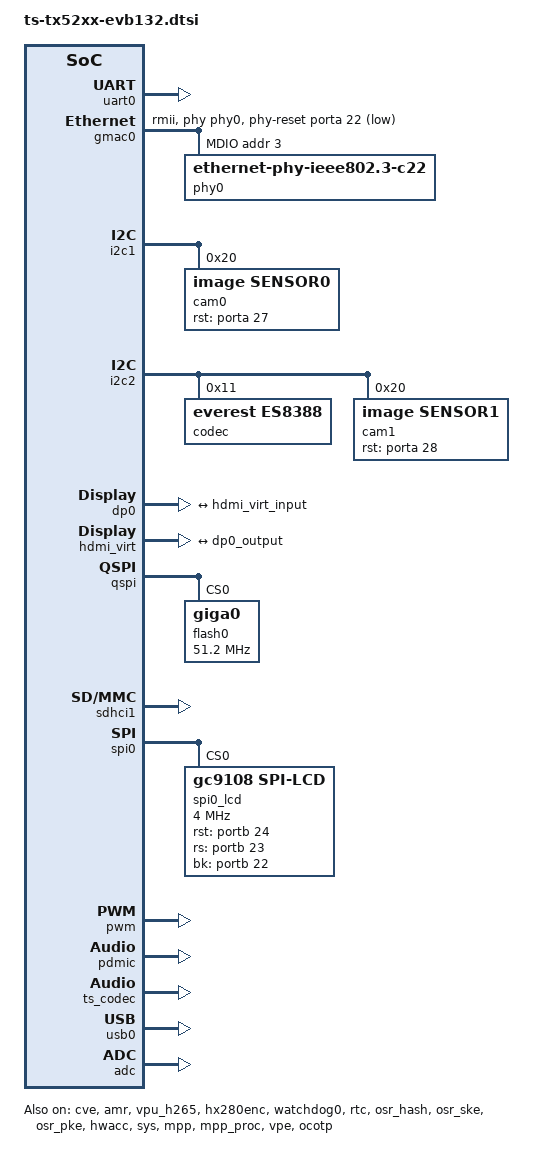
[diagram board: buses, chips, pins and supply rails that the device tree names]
// SPDX-License-Identifier: GPL-2.0+
/*
 * dts file for tsingmicro tx52xx
 *
 * Copyright 2022 Beijing Tsingmicro Intelligent Technology Co.,Ltd.
 *
 * This program is free software; you can redistribute it and/or
 * modify it under the terms of the GNU General Public License as
 * published by the Free Software Foundation; either version 2 of
 * the License, or (at your option) any later version.
 */

#include "ts-tx5215.dtsi"
#include "ts-tx5215-clk.dtsi"
#include "ts-tx5215-reset.dtsi"
#include "ts-tx52xx-evb132-pinctrl.dtsi"

/ {
	chosen {
		/*bootargs = "console=ttyS0,115200n8 initrd=0xc4000000,4M init=/linuxrc
		 * root=/dev/ram0 rw rootfstype=ext4 rootwait ignore_loglevel earlycon";
		 */
		bootargs = "console=ttyS0,115200n8 earlycon";
		/*bootargs = "console=ttyS0,115200n8 ignore_loglevel";
		 *bootargs = "root=/dev/ram0 rw ramdisk=8192 initrd=0x41000000,8M
		 *console=ttyS0,115200n8 init=/linuxrc";
		 */
		stdout-path = "serial0:115200";
	};

	sound {
		status = "disabled";
		compatible = "ts-es8388,tx5215";
		model = "ts-audio-es8388";
		i2s-controller = <&i2s>;
		audio-codec = <&codec>;
	};

};

&uart0 {
	status = "okay";
};

&uart1 {
	pinctrl-names = "default";
	// pinctrl-0 = <&uart1_pinctrl>;
	status = "disabled";
};

&uart2 {
	pinctrl-names = "default";
	// pinctrl-0 = <&uart2_pinctrl_0>;
	status = "disabled";
};

&gpio0 {
	pinctrl-names = "default";
	// pinctrl-0 = <&gpioa25_pinctrl>;
	status = "okay";
};

&gpio1 {
	pinctrl-names = "default";
	// pinctrl-0 = <&gpiob11_pinctrl>;
	status = "okay";
};

&usart0 {
	status = "disabled";
};

&usart1 {
	status = "disabled";
	pinctrl-names = "default";
	// pinctrl-0 = <&usi1_pinctrl_1>;
};

&rne_dma {
	status = "okay";
};

/*
 *&smmu {
 *	status = "disable";
 *};
 */

&uspi0 {
	status = "disabled";
	#address-cells = <0x1>;
	#size-cells = <0x0>;
	pinctrl-names = "default";
	pinctrl-0 = <&usi0_pinctrl &gpioa9_pinctrl>;
	uspics-gpios = <&porta 9 GPIO_ACTIVE_HIGH>;
	uspi0_flash0:w25q64@00 {
		status = "okay";
		compatible = "winbond,w25q64","jedec,spi-nor";
		reg = <0>;
		spi-max-frequency = <1000000>;
		#address-cells = <1>;
		#size-cells = <1>;
		partition@usi2spi-test0{
			label = "test0";
			reg = <0x0 0x800000>; /* 8MB */
		};

	};
};

&gmac0 {
	status = "okay";
	phy-handle = <&phy0>;
	phy-mode = "rmii";
	pinctrl-names = "default";
	pinctrl-0 = <&mac0_pinctrl0>, <&mac0_pinctrl1>, <&mac0_rst_pinctrl>;
	phy-reset-gpios = <&porta 22 GPIO_ACTIVE_LOW>;
	mdio {
		#address-cells = <0x1>;
		#size-cells = <0x0>;
		phy0: phy@0 {
			compatible = "ethernet-phy-ieee802.3-c22";
			device_type = "ethernet-phy";
			reg = <0x3>;
		};
	};
};
&gmac1 {
	status = "disabled";
	phy-handle = <&phy1>;
	phy-mode = "rmii";
	pinctrl-names = "default";
	pinctrl-0 = <&mac1_pinctrl0>, <&mac1_pinctrl1>, <&mac1_pinctrl2>, <&mac1_pinctrl3>, <&mac1_rst_pinctrl>;
	phy-reset-gpios = <&portb 5 GPIO_ACTIVE_LOW>;
	mdio {
		#address-cells = <0x1>;
		#size-cells = <0x0>;
		phy1: phy@1 {
			compatible = "ethernet-phy-ieee802.3-c22";
			device_type = "ethernet-phy";
			reg = <0x3>;
		};
	};
};

&i2c0 {
	status = "disabled";
	pinctrl-names = "default";
	pinctrl-0 = <&i2c0_pinctrl_0>;
};

&i2c1 {
	status = "okay";
	pinctrl-names = "default";
	pinctrl-0 = <&i2c1_pinctrl_0>;

	cam0: imgsensor0@20 {
		compatible = "image,sensor0";
		reg = <0x20>;

		pinctrl-names = "default", "default";
		pinctrl-0 = <&gpioa27_pinctrl>;
		pinctrl-1 = <&chip_out0_pinctrl>;
		rst-gpios = <&porta 27 GPIO_ACTIVE_HIGH>;

		clocks = <&ts_clk TS_CLK_TX5215_CHIP_OCLK_I0>;
		clock-names = "mclk";
		assigned-clocks = <&ts_clk TS_CLK_TX5215_CHIP_OCLK_I0>;
		assigned-clock-rates = <24000000>;
	};
};

&ui2c0 {
	status = "disabled";
	pinctrl-names = "default";
	pinctrl-0 = <&usi0_pinctrl_2 &usi0_pinctrl>;
	eeprom: eeprom@50 {
		compatible = "atmel,24c32";
		reg = <0x50>;
		pagesize = <32>;
	};
};

&ui2c1 {
	status = "disabled";
};

&i2c3 {
	status = "disabled";
};

&i2c2 {
	status = "okay";
	pinctrl-names = "default";
	pinctrl-0 = <&i2c2_pinctrl_1>;

	codec: es8388@11 {
		compatible = "everest,es8388";
		clocks = <&misc_clk>;
		reg = <0x11>;
	};

	cam1: imgsensor1@20 {
		compatible = "image,sensor1";
		reg = <0x20>;

		pinctrl-names = "default";
		pinctrl-0 = <&gpioa28_pinctrl>;
		rst-gpios = <&porta 28 GPIO_ACTIVE_HIGH>;

		clocks = <&ts_clk TS_CLK_TX5215_CHIP_OCLK_I0>;
		clock-names = "mclk";
	};
};

&dp0 {
	status = "okay";
	port {
		dp0_output: endpoint {
			remote-endpoint = <&hdmi_virt_input>;
		};
	};
};

&hdmi_virt {
	status = "okay";
	ports {
		port {
			#address-cells = <1>;
			#size-cells = <0>;

			hdmi_virt_input: endpoint@0 {
				reg = <0>;
				remote-endpoint = <&dp0_output>;
			};
		};
	};
};

&cve {
	status = "okay";
};

&can0 {
	status = "disabled";
	pinctrl-names = "default";
	pinctrl-0 = <&can0_pinctrl_0 &can0_pinctrl_1>;
};

&can1 {
	status = "disabled";
	pinctrl-names = "default";
	pinctrl-0 = <&can1_pinctrl_0 &can1_pinctrl_1>;
};

&amr {
	status = "okay";
};

&vpu_h265 {
	status = "okay";
};

&hx280enc {
	status = "okay";
};

&qspi {
	status = "okay";
	page-size = <256>;
	block-size = <16>;
	#address-cells = <1>;
	#size-cells = <0>;

#if 0
	nand1:spi-nand@0 {
		status = "okay";
		compatible = "spi-nand";
		reg = <0>; /* CS0 */
		//spi-max-frequency = <40000000>;
		spi-max-frequency = <20000000>;
		page-size = <2048>;
		block-size = <131072>;
		spi-rx-bus-width = <4>;
		spi-tx-bus-width = <4>;
		cdns,read-delay = <0>;
		cdns,tshsl-ns = <0>;
		cdns,tsd2d-ns = <0>;
		cdns,tchsh-ns = <0>;
		cdns,tslch-ns = <0>;
		partitions {
			compatible = "fixed-partitions";
			#address-cells = <1>;
			#size-cells = <1>;

			/* reserved for future boot direct from NAND flash
			 * (this would use the same layout as the 8MiB NOR flash)
			 */
			partition@0 {
				label = "nand-boot-reserved";
				reg = <0 0x800000>;
			};

			/* recovery / install environment */
			partition@800000 {
				label = "recovery";
				reg = <0x800000 0x2000000>;
			};

			/* ubia (first OpenWrt) - a/b names to prevent confusion with ubi0/1/etc. */
			partition@2800000 {
				label = "ubia";
				reg = <0x2800000 0x3C00000>;
			};
#if 0
			/* ubib (second OpenWrt) */
			partition@6400000 {
				label = "ubib";
				reg = <0x6400000 0x3C00000>;
			};
#endif
		};
	};

#else

	flash0: giga0@0 {
		reg = <0>; /* CS0 */
		cdns,read-delay = <2>;
		cdns,tshsl-ns = <40>;
		cdns,tsd2d-ns = <50>;
		cdns,tchsh-ns = <3>;
		cdns,tslch-ns = <4>;
		spi-max-frequency = <51200000>;
		#address-cells = <1>;
		#size-cells = <1>;
	};
#endif
};

&sdhci0 {
	/* qspi and sdhci0 cannot coexist */
	/*status = "okay";*/
	status = "disabled";
	pinctrl-names = "default";
	pinctrl-0 = <&emmc0_pinctrl>;
};

&sdhci1 {
	status = "okay";
	pinctrl-names = "default";
	pinctrl-0 = <&mshc1_pinctrl &emmc1_pinctrl &sd_pwr_pinctrl>;
	card-detect-delay = <200>;
	sdpwr-gpios = <&portb 9 GPIO_ACTIVE_LOW>;
};

&spi0 {
	status = "okay";
	#address-cells = <1>;
	#size-cells = <0>;
	pinctrl-names = "default";
	pinctrl-0 = <&spi0_pinctrl &spi_lcd_rs_pinctrl &spi_lcd_rst_pinctrl  &spi_lcd_bk_pinctrl>;
	spi0_lcd: gc9108@0 {
		compatible = "gc9108,spi-lcd";
		spi-max-frequency = <4000000>;
		rst-gpios = <&portb 24 GPIO_ACTIVE_HIGH>;
		rs-gpios = <&portb 23 GPIO_ACTIVE_HIGH>;
		bk-gpios = <&portb 22 GPIO_ACTIVE_HIGH>;

		//#address-cells = <1>;
		//#size-cells = <1>;
		reg = <0>;
	};
};

&watchdog0 {
	status = "okay";
};

&pwm {
	status = "okay";
};

&rtc {
	status = "okay";
};

&osr_hash {
	status = "okay";
};

&osr_ske {
	status = "okay";
};

&osr_pke {
	status = "okay";
};

&pinctrl {
	status = "okay";
	// init-function = "init";
};

&hwacc {
	status = "okay";
};

&dwahbdma0 {
	status = "okay";
};

&dwahbdma1 {
	status = "okay";
};

&dw_axi_dmac {
	status = "okay";
};


&pdmic {
	status = "okay";
	pinctrl-names = "default";
	pinctrl-0 = <&pdmic_pinctrl_0>;
	ts,model = "PDMIC @ tsm-tx5215-fpga";
	ts,mic-min-freq = <1024000>;
	ts,mic-max-freq = <3072000>;
	ts,mic-offset = <0x0>;
	dmas = <&dwahbdma1 0x6 1 0>;
	dma-names = "rx";
};

&ts_codec {
	status = "okay";
	ts,model = "ts-codec";
	pinctrl-names = "default";
	dmas = <&dwahbdma1 0xe 1 1 &dwahbdma1 0xd 1 0>;
	dma-names = "tx","rx";
};

&sys {
	status = "okay";
};

&mpp {
	status = "okay";
};

&mpp_proc {
	status = "okay";
};

&vpe {
	status = "okay";
};

&usb0 {
	status = "okay";
	//pinctrl-names = "default";
	//pinctrl-0 = <&usb_pinctrl>;
	//drvvbus-gpios  = <&portb 11 GPIO_ACTIVE_HIGH>;
};

&ocotp {
	status = "okay";
};

&adc {
	status = "okay";
};

&i2s {
	status = "disabled";
	dmas = <&dwahbdma1 0x5 2 1 &dwahbdma1 0x4 1 0>;
	dma-names = "tx","rx";
	pinctrl-names = "default";
	pinctrl-0 = <&i2s_pinctrl>;
};
